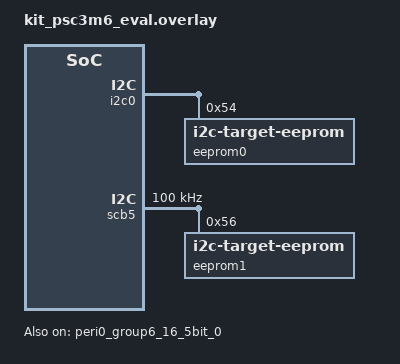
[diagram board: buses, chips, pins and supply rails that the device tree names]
/*
 * SPDX-FileCopyrightText: Copyright (c) 2026 Infineon Technologies AG,
 * SPDX-FileCopyrightText: or an affiliate of Infineon Technologies AG. All rights reserved.
 *
 * SPDX-License-Identifier: Apache-2.0
 */

/*
 * Short the two buses together, with pull-ups to VDDIO on both lines:
 *   P9.0 (SCB0 SCL) <-> P8.1 (SCB5 SCL)
 *   P9.2 (SCB0 SDA) <-> P8.3 (SCB5 SDA)
 */

#include <zephyr/dt-bindings/i2c/i2c.h>

&i2c0 {
	eeprom0: eeprom@54 {
		compatible = "zephyr,i2c-target-eeprom";
		reg = <0x54>;
		address-width = <8>;
		size = <256>;
	};
};

i2c1: &scb5 {
	compatible = "infineon,i2c";
	status = "okay";
	#address-cells = <1>;
	#size-cells = <0>;
	clock-frequency = <I2C_BITRATE_STANDARD>;
	/* scb5 is clocked from peripheral group 6, not group 4 like scb0. */
	clocks = <&peri0_group6_16_5bit_0>;
	pinctrl-0 = <&p8_1_scb5_i2c_scl &p8_3_scb5_i2c_sda>;
	pinctrl-names = "default";

	eeprom1: eeprom@56 {
		compatible = "zephyr,i2c-target-eeprom";
		reg = <0x56>;
		address-width = <8>;
		size = <256>;
	};
};

&peri0_group6_16_5bit_0 {
	status = "okay";
};

&p8_1_scb5_i2c_scl {
	drive-open-drain;
	input-enable;
};

&p8_3_scb5_i2c_sda {
	drive-open-drain;
	input-enable;
};
